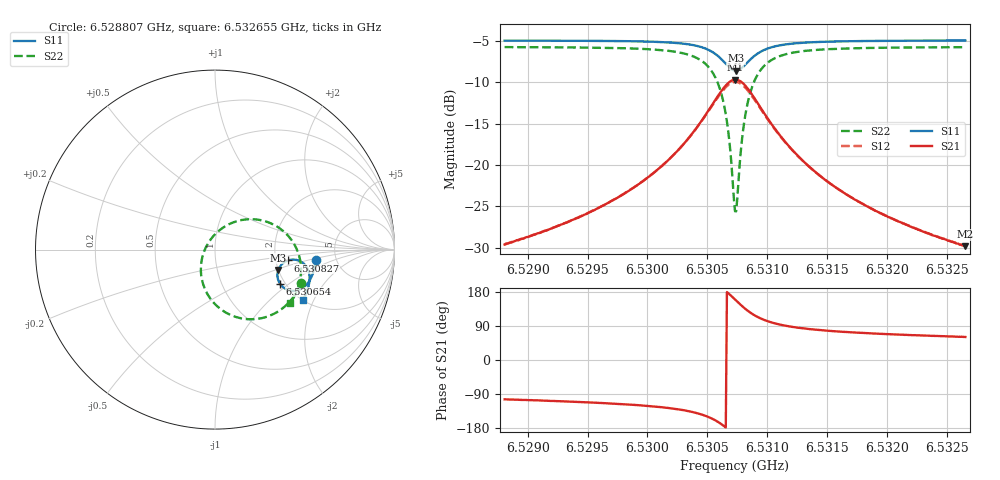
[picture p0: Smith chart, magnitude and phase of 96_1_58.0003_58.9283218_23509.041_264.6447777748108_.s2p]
#  HZ  S  RI  R  50.00
! Rohde & Schwarz Vector Network Analyzer
! Rohde-Schwarz,ZNB20-2Port,1311601062101988,3.16
! Created: UTC 3/21/2024, 12:54:36 AM
! freq[Hz]  re:S11  im:S11  re:S21  im:S21  re:S12  im:S12  re:S22  im:S22
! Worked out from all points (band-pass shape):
!   401 points, 6.528807 GHz to 6.532655 GHz, reference 50 ohm
!   highest |S21| = -9.69 dB at 6.530731 GHz (marker M1); lowest = -29.8 dB at 6.532655 GHz (marker M2)
!   |S21| within 3 dB of the highest: 6.530542 GHz to 6.530928 GHz (385.7 kHz wide, 0.00591 % of centre)
!   lowest |S11| = -8.6 dB at 6.530741 GHz (marker M3), VSWR 2.18, Z = 99.9 - j26.3 ohm
!   |S11| at or under -10 dB: nowhere
!   |S22| runs from -25.6 to -5.8 dB; largest |S21 - S12| = 0.014
!   S11 on the Smith chart (normalised r, x): 6.528807 GHz: 3.48, -0.57; 6.530654 GHz: 1.88, -0.86; 6.530827 GHz: 2.33, -0.34; 6.532655 GHz: 2.01, -1.66
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6.5288073e9  0.5606 -0.0556  -0.00787 -0.0321  -0.0086 -0.0321  0.481 -0.1848
6.5294518e9  0.5513 -0.1105  -0.0177 -0.046  -0.0189 -0.0456  0.4485 -0.2469
6.529827e9  0.5399 -0.1468  -0.0314 -0.0611  -0.0331 -0.0602  0.4128 -0.2936
6.5300963e9  0.524 -0.178  -0.0533 -0.0791  -0.0554 -0.0776  0.3635 -0.3367
6.5303272e9  0.4949 -0.2097  -0.0975 -0.1012  -0.1009 -0.0977  0.2732 -0.3787
6.5304907e9  0.4478 -0.2293  -0.1727 -0.1074  -0.1752 -0.1001  0.1356 -0.3806
6.5305869e9  0.3989 -0.2218  -0.2486 -0.0763  -0.2473 -0.0656  0.0098 -0.3133
6.5306543e9  0.3621 -0.1897  -0.3021 -0.0098  -0.295 0.00109  -0.0668 -0.1909
6.5306831e9  0.3515 -0.1671  -0.3147 0.0329  -0.3049 0.0421  -0.0788 -0.1175
6.5307216e9  0.3486 -0.1315  -0.3121 0.0971  -0.3001 0.1026  -0.0618 -0.0128
6.5307312e9  0.3503 -0.1224  -0.3075 0.1133  -0.2951 0.1173  -0.0512 0.0123
6.5307408e9  0.3529 -0.1134  -0.3012 0.1286  -0.2889 0.1317  -0.0379 0.0364
6.5307505e9  0.3563 -0.1049  -0.2937 0.1435  -0.2813 0.1454  -0.0225 0.0589
6.5307986e9  0.3848 -0.0713  -0.2385 0.2003  -0.2286 0.1979  0.0782 0.1416
6.5308274e9  0.4064 -0.0602  -0.1994 0.2184  -0.1917 0.2148  0.1459 0.1643
6.5308948e9  0.4529 -0.0574  -0.1182 0.2233  -0.1143 0.2197  0.2827 0.1569
6.530991e9  0.4947 -0.0786  -0.0471 0.1916  -0.0455 0.1895  0.3979 0.0871
6.5311353e9  0.5199 -0.1154  -0.00368 0.1422  -0.00263 0.1413  0.4619 -0.0137
6.5313758e9  0.5275 -0.1598  0.015 0.0929  0.0162 0.0927  0.4795 -0.1165
6.531674e9  0.5229 -0.1973  0.0186 0.0629  0.0195 0.0627  0.4701 -0.1863
6.5320203e9  0.5128 -0.2307  0.0181 0.0448  0.0189 0.0445  0.4529 -0.2366
6.5326552e9  0.4903 -0.2808  0.0159 0.0282  0.0164 0.0281  0.4199 -0.2969
